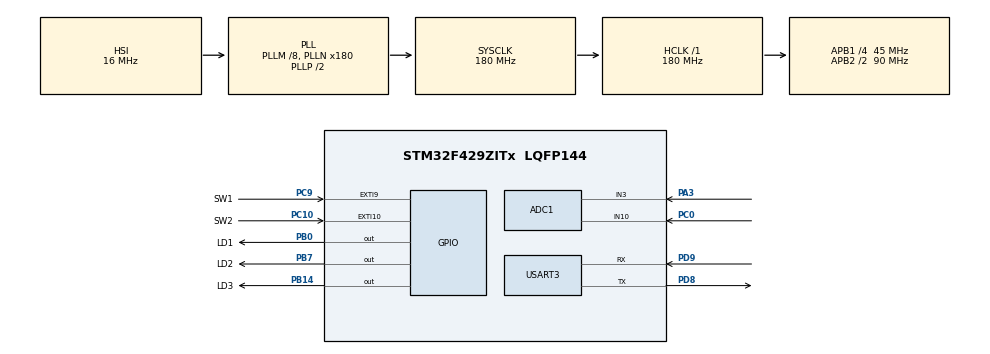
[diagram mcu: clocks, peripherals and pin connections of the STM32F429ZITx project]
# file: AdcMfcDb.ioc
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ADC1.Channel-2\#ChannelRegularConversion=ADC_CHANNEL_3
ADC1.Channel-3\#ChannelRegularConversion=ADC_CHANNEL_10
ADC1.ContinuousConvMode=ENABLE
ADC1.DMAContinuousRequests=ENABLE
ADC1.NbrOfConversion=2
ADC1.NbrOfConversionFlag=1
ADC1.Rank-2\#ChannelRegularConversion=1
ADC1.Rank-3\#ChannelRegularConversion=2
ADC1.SamplingTime-2\#ChannelRegularConversion=ADC_SAMPLETIME_84CYCLES
ADC1.SamplingTime-3\#ChannelRegularConversion=ADC_SAMPLETIME_84CYCLES
ADC1.ScanConvMode=ENABLE
ADC1.master=1
Dma.ADC1.0.Direction=DMA_PERIPH_TO_MEMORY
Dma.ADC1.0.FIFOMode=DMA_FIFOMODE_DISABLE
Dma.ADC1.0.Instance=DMA2_Stream0
Dma.ADC1.0.MemDataAlignment=DMA_MDATAALIGN_WORD
Dma.ADC1.0.MemInc=DMA_MINC_ENABLE
Dma.ADC1.0.Mode=DMA_CIRCULAR
Dma.ADC1.0.PeriphDataAlignment=DMA_PDATAALIGN_WORD
Dma.ADC1.0.PeriphInc=DMA_PINC_DISABLE
Dma.ADC1.0.Priority=DMA_PRIORITY_LOW
Dma.Request0=ADC1
Mcu.Family=STM32F4
Mcu.Name=STM32F429ZITx
Mcu.Package=LQFP144
NVIC.DMA2_Stream0_IRQn=true\:0\:0\:false\:false\:true\:false\:true\:true
NVIC.EXTI15_10_IRQn=true\:0\:0\:false\:false\:true\:true\:true\:true
NVIC.EXTI9_5_IRQn=true\:0\:0\:false\:false\:true\:true\:true\:true
NVIC.PriorityGroup=NVIC_PRIORITYGROUP_4
NVIC.USART3_IRQn=true\:0\:0\:false\:false\:true\:true\:true\:true
PA13.Mode=Serial_Wire
PA13.Signal=SYS_JTMS-SWDIO
PA14.Mode=Serial_Wire
PA14.Signal=SYS_JTCK-SWCLK
PA3.Signal=ADCx_IN3
PB0.GPIO_Label=LD1
PB0.Signal=GPIO_Output
PB14.GPIO_Label=LD3
PB14.Signal=GPIO_Output
PB7.GPIO_Label=LD2
PB7.Signal=GPIO_Output
PC0.Signal=ADCx_IN10
PC10.GPIO_Label=SW2
PC10.GPIO_ModeDefaultEXTI=GPIO_MODE_IT_RISING
PC10.Signal=GPXTI10
PC14/OSC32_IN.Mode=LSE-External-Oscillator
PC14/OSC32_IN.Signal=RCC_OSC32_IN
PC15/OSC32_OUT.Mode=LSE-External-Oscillator
PC15/OSC32_OUT.Signal=RCC_OSC32_OUT
PC9.GPIO_Label=SW1
PC9.Signal=GPXTI9
PD8.Mode=Asynchronous
PD8.Signal=USART3_TX
PD9.Mode=Asynchronous
PD9.Signal=USART3_RX
ProjectManager.HeapSize=0x200
ProjectManager.StackSize=0x400
ProjectManager.TargetToolchain=STM32CubeIDE
RCC.48MHZClocksFreq_Value=90000000
RCC.AHBFreq_Value=180000000
RCC.APB1CLKDivider=RCC_HCLK_DIV4
RCC.APB1Freq_Value=45000000
RCC.APB1TimFreq_Value=90000000
RCC.APB2CLKDivider=RCC_HCLK_DIV2
RCC.APB2Freq_Value=90000000
RCC.APB2TimFreq_Value=180000000
RCC.CortexFreq_Value=180000000
RCC.HCLKFreq_Value=180000000
RCC.HSE_VALUE=25000000
RCC.HSI_VALUE=16000000
RCC.PLLM=8
RCC.PLLN=180
RCC.RCC_RTC_Clock_Source=RCC_RTCCLKSOURCE_LSE
RCC.SYSCLKFreq_VALUE=180000000
RCC.SYSCLKSource=RCC_SYSCLKSOURCE_PLLCLK
RCC.VCOOutputFreq_Value=360000000
SH.ADCx_IN10.0=ADC1_IN10,IN10
SH.ADCx_IN3.0=ADC1_IN3,IN3
USART3.VirtualMode=VM_ASYNC
VP_RTC_VS_RTC_Activate.Mode=RTC_Enabled
board=custom

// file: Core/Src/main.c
/* USER CODE BEGIN Header */
/**
  ******************************************************************************
  * @file           : main.c
  * @brief          : Main program body
  ******************************************************************************
  * @attention
  *
  * Copyright (c) 2022 STMicroelectronics.
  * All rights reserved.
  *
  * This software is licensed under terms that can be found in the LICENSE file
  * in the root directory of this software component.
  * If no LICENSE file comes with this software, it is provided AS-IS.
  *
  ******************************************************************************
  */
/* USER CODE END Header */
#include "main.h"
#include "adc.h"
#include "dma.h"
#include "rtc.h"
#include "usart.h"
#include "gpio.h"

/* USER CODE BEGIN Includes */
#include <stdio.h>
#include <string.h>
/* USER CODE END Includes */

/* USER CODE BEGIN PV */
uint32_t current_tick_1;
uint32_t old_tick_1;
uint32_t current_tick_2;
uint32_t old_tick_2;
uint32_t potentiometer[2];
char uart_buf[7];

#define ARRAYNUM 10
int readings[2][ARRAYNUM]={0,};
int idx = 0;
int total[2] = {0,};
uint32_t average[2] ={0,};

/* USER CODE END PV */

void SystemClock_Config(void);
/* USER CODE BEGIN PFP */
int _write(int file, char* p, int len){
	HAL_UART_Transmit(&huart3, p, len, 10);
	return len;
}
/* USER CODE END PFP */

int main(void)
{

  /* MCU Configuration--------------------------------------------------------*/

  /* Reset of all peripherals, Initializes the Flash interface and the Systick. */
  HAL_Init();

  /* Configure the system clock */
  SystemClock_Config();

  /* Initialize all configured peripherals */
  MX_GPIO_Init();
  MX_RTC_Init();
  MX_DMA_Init();
  MX_USART3_UART_Init();
  MX_ADC1_Init();
  /* USER CODE BEGIN 2 */
  HAL_ADC_Start_DMA(&hadc1, potentiometer, 2);
  /* USER CODE END 2 */

  /* Infinite loop */
  /* USER CODE BEGIN WHILE */
  while (1)
  {

	  total[0] = total[0] - readings[0][idx];
	  total[1] = total[1] - readings[1][idx];
	  readings[0][idx] = potentiometer[0];
	  readings[1][idx] = potentiometer[1];
	  total[0] = total[0] + readings[0][idx];
	  total[1] = total[1] + readings[1][idx];

	  idx = idx + 1;

	  if (idx >= ARRAYNUM) {
		  idx = 0;
	  }

	  average[0] = total[0] / ARRAYNUM;
	  average[1] = total[1] / ARRAYNUM;

	  memset(uart_buf, 0, sizeof(uart_buf));
	  sprintf(uart_buf, "PA%04d\n", average[0]);
	  HAL_UART_Transmit(&huart3, (uint8_t*)uart_buf, sizeof(uart_buf), 10);

	  memset(uart_buf, 0, sizeof(uart_buf));
	  sprintf(uart_buf, "PB%04d\n", average[1]);
	  HAL_UART_Transmit(&huart3, (uint8_t*)uart_buf, sizeof(uart_buf), 10);

	  HAL_Delay(10);

	  //	  printf("%d, ", average[0]);
	  //	  printf("%d, ", average[1]);
	  //	  printf("%d, ", potentiometer[0]);
	  //	  printf("%d\r\n", potentiometer[1]);

    /* USER CODE END WHILE */

  }
}

void SystemClock_Config(void)
{
  RCC_OscInitTypeDef RCC_OscInitStruct = {0};
  RCC_ClkInitTypeDef RCC_ClkInitStruct = {0};

  /** Configure the main internal regulator output voltage
  */
  __HAL_RCC_PWR_CLK_ENABLE();
  __HAL_PWR_VOLTAGESCALING_CONFIG(PWR_REGULATOR_VOLTAGE_SCALE1);

  /** Initializes the RCC Oscillators according to the specified parameters
  * in the RCC_OscInitTypeDef structure.
  */
  RCC_OscInitStruct.OscillatorType = RCC_OSCILLATORTYPE_HSI|RCC_OSCILLATORTYPE_LSE;
  RCC_OscInitStruct.LSEState = RCC_LSE_ON;
  RCC_OscInitStruct.HSIState = RCC_HSI_ON;
  RCC_OscInitStruct.HSICalibrationValue = RCC_HSICALIBRATION_DEFAULT;
  RCC_OscInitStruct.PLL.PLLState = RCC_PLL_ON;
  RCC_OscInitStruct.PLL.PLLSource = RCC_PLLSOURCE_HSI;
  RCC_OscInitStruct.PLL.PLLM = 8;
  RCC_OscInitStruct.PLL.PLLN = 180;
  RCC_OscInitStruct.PLL.PLLP = RCC_PLLP_DIV2;
  RCC_OscInitStruct.PLL.PLLQ = 4;
  if (HAL_RCC_OscConfig(&RCC_OscInitStruct) != HAL_OK)
  {
    Error_Handler();
  }

  /** Activate the Over-Drive mode
  */
  if (HAL_PWREx_EnableOverDrive() != HAL_OK)
  {
    Error_Handler();
  }

  /** Initializes the CPU, AHB and APB buses clocks
  */
  RCC_ClkInitStruct.ClockType = RCC_CLOCKTYPE_HCLK|RCC_CLOCKTYPE_SYSCLK
                              |RCC_CLOCKTYPE_PCLK1|RCC_CLOCKTYPE_PCLK2;
  RCC_ClkInitStruct.SYSCLKSource = RCC_SYSCLKSOURCE_PLLCLK;
  RCC_ClkInitStruct.AHBCLKDivider = RCC_SYSCLK_DIV1;
  RCC_ClkInitStruct.APB1CLKDivider = RCC_HCLK_DIV4;
  RCC_ClkInitStruct.APB2CLKDivider = RCC_HCLK_DIV2;

  if (HAL_RCC_ClockConfig(&RCC_ClkInitStruct, FLASH_LATENCY_5) != HAL_OK)
  {
    Error_Handler();
  }
}

/* USER CODE BEGIN 4 */
void HAL_GPIO_EXTI_Callback(uint16_t GPIO_Pin)
{

//	if(GPIO_Pin==SW1_Pin){
//		current_tick_1 = HAL_GetTick();
//	}
//	if(GPIO_Pin==SW2_Pin){
//		current_tick_2 = HAL_GetTick();
//	}
//
//	if(GPIO_Pin==SW1_Pin && (current_tick_1 - old_tick_1 > 300)){
//		old_tick_1 = current_tick_1;
//		memset(uart_buf, 0, sizeof(uart_buf));
//		sprintf(uart_buf, "PA%04d\n", potentiometer[0]);
//		HAL_UART_Transmit(&huart3, (uint8_t*)uart_buf, sizeof(uart_buf), 10);
//	}
//	if(GPIO_Pin==SW2_Pin && (current_tick_2 - old_tick_2 > 300)){
//		old_tick_2 = current_tick_2;
//		memset(uart_buf, 0, sizeof(uart_buf));
//		sprintf(uart_buf, "PB%04d\n", potentiometer[1]);
//		HAL_UART_Transmit(&huart3, (uint8_t*)uart_buf, sizeof(uart_buf), 10);
//
//	}

}
/* USER CODE END 4 */

void Error_Handler(void)
{
  __disable_irq();
  while (1)
  {
  }
}
